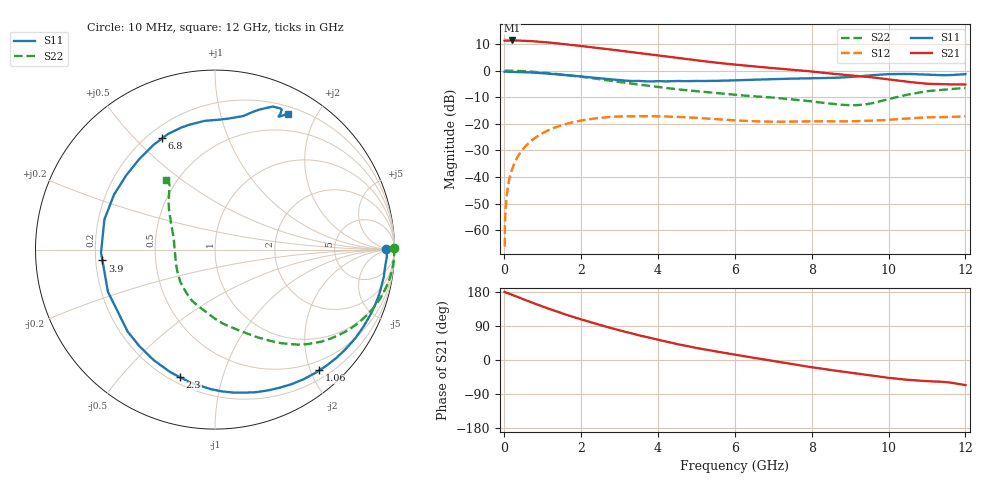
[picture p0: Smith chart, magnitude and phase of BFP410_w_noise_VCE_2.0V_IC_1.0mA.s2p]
! (c) 2015  Infineon Technologies AG, Munich
! Infineon Technologies  Discrete & RF Semiconductors
! BFP410
! VCE =  2.0 V,  IC =  1.0 mA
! Common Emitter S-Parameters:  Nov 2015
# GHz  S  MA  R  50
!  f  S11  S21  S12  S22
! GHz  MAG  ANG  MAG  ANG  MAG  ANG  MAG  ANG
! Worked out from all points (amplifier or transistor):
!   243 points, 10 MHz to 12 GHz, reference 50 ohm
!   highest |S21| = 11.4 dB at 200 MHz (marker M1)
!   |S21| within 3 dB of that: start of sweep to 2.541 GHz
!   unconditionally stable (mu >= 1): 4.626 GHz to end of sweep
!   at 240 MHz: K = 0.02, MSG = 23.5 dB, |S12| = -35.7 dB
!   at 1.84 GHz: K = 0.28, MSG = 14.4 dB, |S12| = -19.2 dB
!   at 12 GHz: K = 1.28, MAG = 2.8 dB, |S12| = -17.2 dB
!   lowest NFmin = 0.79 dB at 900 MHz
!   S11 on the Smith chart (normalised r, x): 10 MHz: 43, +3; 1.06 GHz: 0.33, -2.15; 2.3 GHz: 0.24, -0.74; 3.9 GHz: 0.23, -0.05; 6.8 GHz: 0.26, +0.60; 12 GHz: 0.28, +1.63
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0.01  0.9547 0.2  3.658 179.7  0.0005 -84.3  1 0.6
0.015  0.9564 -0.2  3.668 179.5  0.0005 80.9  0.9975 0.4
0.02  0.9582 -0.6  3.678 179.4  0.0015 85.8  0.9951 0.1
0.055  0.9581 -2.5  3.673 177.4  0.0037 88.5  0.9986 -1.0
0.11  0.9534 -5.0  3.69 175.8  0.0076 87.4  0.9981 -2.6
0.2  0.9526 -9.1  3.699 172.2  0.0137 85.1  0.9958 -4.8
0.5  0.9384 -23.0  3.661 160.3  0.0343 77.1  0.9778 -12.0
0.82  0.9134 -37.8  3.543 147.8  0.0555 68.2  0.9445 -19.5
1.06  0.889 -49.1  3.435 138.9  0.0705 61.5  0.9124 -24.8
1.6  0.8264 -74.1  3.142 119.8  0.099 47.0  0.8299 -35.5
2.02  0.7743 -92.7  2.897 106.6  0.1159 36.9  0.7658 -42.6
2.3  0.7375 -105.3  2.746 98.2  0.1247 30.2  0.7205 -47.1
3  0.6672 -136.9  2.388 78.2  0.1377 15.2  0.612 -57.2
3.9  0.6301 -174.5  1.982 55.9  0.139 0.4  0.504 -68.6
4.1  0.6315 178.2  1.903 51.2  0.1383 -2.4  0.4835 -71.4
5  0.6407 151.5  1.568 31.7  0.1297 -13.0  0.4115 -84.6
6.1  0.6605 127.7  1.279 12.5  0.1151 -19.1  0.3469 -99.4
6.8  0.6862 115.4  1.149 0.8  0.1103 -19.6  0.3182 -111.0
8.2  0.7211 91.1  0.93 -21.9  0.1113 -21.0  0.2531 -142.5
9.2  0.7808 76.0  0.792 -36.0  0.1126 -21.1  0.2251 178.6
10.2  0.8629 66.6  0.658 -49.1  0.1218 -21.2  0.3157 142.7
12  0.8588 61.9  0.55 -66.2  0.1381 -30.1  0.4746 125.0
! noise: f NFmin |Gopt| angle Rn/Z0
0.45  0.82  0.68  9  0.45
0.9  0.79  0.65  23  0.41
1.8  1.13  0.53  57  0.35
2.4  1.23  0.5  71  0.31
5.5  2.66  0.44  -153  0.19
